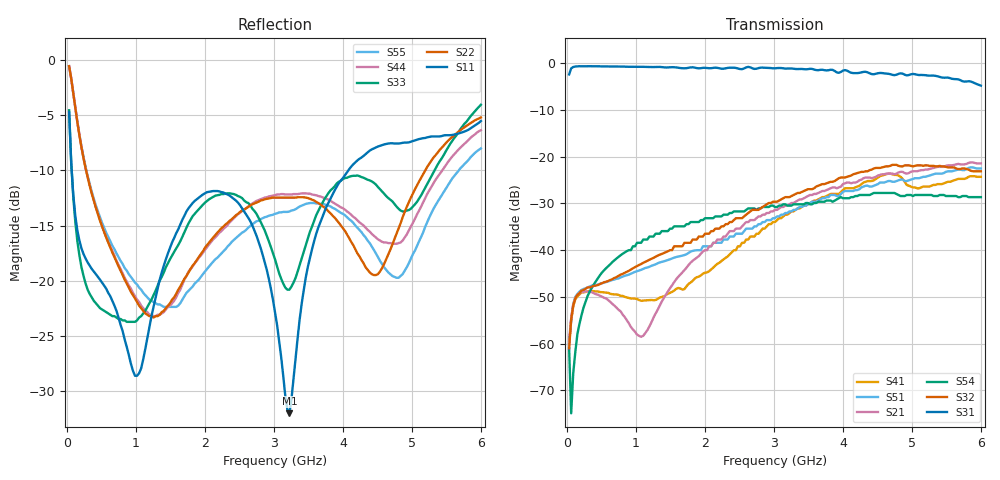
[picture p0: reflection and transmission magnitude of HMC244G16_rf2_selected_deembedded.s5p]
!Hittite Microwave Corporation
!12 Elizabeth Drive
!Chelmsford, MA 01824
!Tel: 978-250-3343
!Fax: 978-250-3373
!Device: HMC244G16, DC - 4 GHz GaAs MMIC SP4T Non-Reflective Switch in 16 lead hermetic package
!Misc: Port 1 = RFC, Port 2 = RF1, Port 3 = RF2, Port 4 = RF3, Port 5 = RF4, RF2 Selected, Bias: +5VDC
# MHZ S MA R 50
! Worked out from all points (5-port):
!   201 points, 30 MHz to 6 GHz, reference 50 ohm
!   strongest paths, dB at 30 MHz, 1.522 GHz, 3.015 GHz, 4.508 GHz, 6 GHz:
!     S31: -2.4, -0.8, -1.0, -2.1, -4.7
!     S32: -61.0, -40.0, -29.6, -22.4, -23.1
!     S54: -61.0, -35.4, -30.8, -27.7, -28.6
!     S21: -59.5, -47.5, -31.4, -24.0, -21.4
!     S51: -60.1, -41.8, -33.2, -25.8, -22.5
!     S41: -60.1, -48.9, -34.0, -24.4, -24.3
!   lowest |S11| = -32.0 dB at 3.224 GHz (marker M1), VSWR 1.05, Z = 52.4 + j0.924 ohm
!   |S11| at or under -10 dB: 67.34 MHz to 4.078 GHz (4.011 GHz wide, 194 % of centre)
